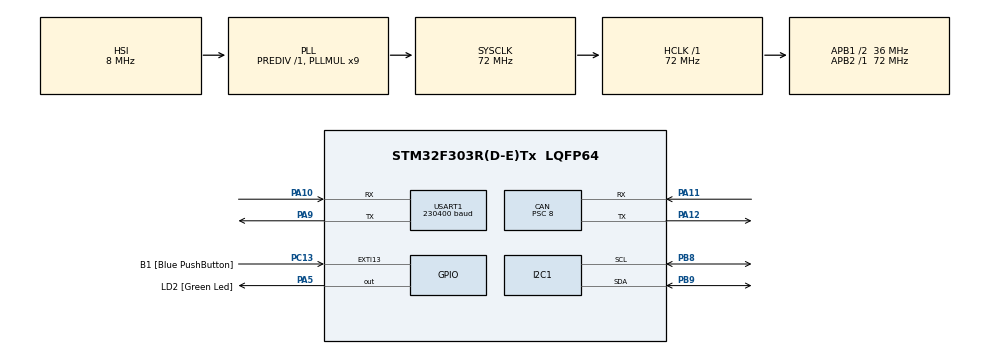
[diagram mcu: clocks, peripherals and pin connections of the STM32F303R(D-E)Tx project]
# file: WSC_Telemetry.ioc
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CAN.BS1=CAN_BS1_15TQ
CAN.BS2=CAN_BS2_2TQ
CAN.CalculateBaudRate=250000
CAN.CalculateTimeBit=4000
CAN.CalculateTimeQuantum=222.22222222222223
CAN.Mode=CAN_MODE_NORMAL
CAN.NART=ENABLE
CAN.Prescaler=8
Dma.Request0=USART1_TX
Dma.USART1_TX.0.Direction=DMA_MEMORY_TO_PERIPH
Dma.USART1_TX.0.Instance=DMA1_Channel4
Dma.USART1_TX.0.MemDataAlignment=DMA_MDATAALIGN_BYTE
Dma.USART1_TX.0.MemInc=DMA_MINC_ENABLE
Dma.USART1_TX.0.Mode=DMA_NORMAL
Dma.USART1_TX.0.PeriphDataAlignment=DMA_PDATAALIGN_BYTE
Dma.USART1_TX.0.PeriphInc=DMA_PINC_DISABLE
Dma.USART1_TX.0.Priority=DMA_PRIORITY_VERY_HIGH
I2C1.Timing=0x00201D2B
Mcu.Family=STM32F3
Mcu.Name=STM32F303R(D-E)Tx
Mcu.Package=LQFP64
NVIC.DMA1_Channel4_IRQn=true\:0\:0\:false\:false\:true\:false\:true\:true
NVIC.PriorityGroup=NVIC_PRIORITYGROUP_0
NVIC.TIM2_IRQn=true\:0\:0\:false\:false\:false\:true\:true\:true
NVIC.USART1_IRQn=true\:0\:0\:false\:false\:true\:true\:true\:true
NVIC.USB_LP_CAN_RX0_IRQn=true\:0\:0\:false\:false\:false\:true\:true\:true
PA10.Mode=Asynchronous
PA10.Signal=USART1_RX
PA11.Mode=CAN_Activate
PA11.Signal=CAN_RX
PA12.Mode=CAN_Activate
PA12.Signal=CAN_TX
PA13.GPIO_Label=TMS
PA13.Mode=Serial_Wire
PA13.Signal=SYS_JTMS-SWDIO
PA14.GPIO_Label=TCK
PA14.Mode=Serial_Wire
PA14.Signal=SYS_JTCK-SWCLK
PA3.GPIO_Label=USART_RX
PA3.GPIO_Mode=GPIO_MODE_AF_PP
PA3.GPIO_PuPd=GPIO_NOPULL
PA3.GPIO_Speed=GPIO_SPEED_FREQ_LOW
PA3.Signal=USART2_RX
PA5.GPIO_Label=LD2 [Green Led]
PA5.GPIO_Mode=GPIO_MODE_OUTPUT_PP
PA5.GPIO_PuPd=GPIO_NOPULL
PA5.GPIO_Speed=GPIO_SPEED_FREQ_LOW
PA5.Signal=GPIO_Output
PA9.Mode=Asynchronous
PA9.Signal=USART1_TX
PB3.GPIO_Label=SWO
PB3.Signal=SYS_JTDO-TRACESWO
PB8.Mode=I2C
PB8.Signal=I2C1_SCL
PB9.Mode=I2C
PB9.Signal=I2C1_SDA
PC13.GPIO_Label=B1 [Blue PushButton]
PC13.GPIO_ModeDefaultEXTI=GPIO_MODE_IT_FALLING
PC13.Signal=GPXTI13
PC14-OSC32_IN.Mode=LSE-External-Oscillator
PC14-OSC32_IN.Signal=RCC_OSC32_IN
PC15-OSC32_OUT.Mode=LSE-External-Oscillator
PC15-OSC32_OUT.Signal=RCC_OSC32_OUT
PF0-OSC_IN.Signal=RCC_OSC_IN
PF1-OSC_OUT.Signal=RCC_OSC_OUT
ProjectManager.HeapSize=0x200
ProjectManager.StackSize=0x400
ProjectManager.TargetToolchain=STM32CubeIDE
RCC.AHBFreq_Value=72000000
RCC.APB1CLKDivider=RCC_HCLK_DIV2
RCC.APB1Freq_Value=36000000
RCC.APB1TimFreq_Value=72000000
RCC.APB2Freq_Value=72000000
RCC.APB2TimFreq_Value=72000000
RCC.CortexFreq_Value=72000000
RCC.HCLKFreq_Value=72000000
RCC.HSE_VALUE=8000000
RCC.HSI_VALUE=8000000
RCC.PLLM=8
RCC.PLLMUL=RCC_PLL_MUL9
RCC.PLLN=336
RCC.PLLP=RCC_PLLP_DIV4
RCC.PLLQ=7
RCC.RCC_PLLsource_Clock_Source_FROM_HSE=RCC_HSE_PREDIV_DIV2
RCC.SYSCLKFreq_VALUE=72000000
RCC.SYSCLKSourceVirtual=RCC_SYSCLKSOURCE_PLLCLK
RCC.USBFreq_Value=72000000
TIM2.AutoReloadPreload=TIM_AUTORELOAD_PRELOAD_ENABLE
TIM2.Channel-Output\ Compare1\ No\ Output=TIM_CHANNEL_1
TIM2.Period=999
TIM2.Prescaler=7199
USART1.BaudRate=230400
USART1.Parity=PARITY_EVEN
USART1.VirtualMode-Asynchronous=VM_ASYNC
USART1.WordLength=WORDLENGTH_9B
VP_TIM2_VS_ClockSourceINT.Mode=Internal
VP_TIM2_VS_no_output1.Mode=Output Compare1 No Output
board=NUCLEO-F303RE

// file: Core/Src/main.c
/* USER CODE BEGIN Header */
/**
  ******************************************************************************
  * @file           : main.c
  * @brief          : Main program body
  ******************************************************************************
  * @attention
  *
  * Copyright (c) 2025 STMicroelectronics.
  * All rights reserved.
  *
  * This software is licensed under terms that can be found in the LICENSE file
  * in the root directory of this software component.
  * If no LICENSE file comes with this software, it is provided AS-IS.
  *
  ******************************************************************************
  */
/* USER CODE END Header */
#include "main.h"

CAN_HandleTypeDef hcan;

I2C_HandleTypeDef hi2c1;

TIM_HandleTypeDef htim2;

UART_HandleTypeDef huart1;
DMA_HandleTypeDef hdma_usart1_tx;

void SystemClock_Config(void);
static void MX_GPIO_Init(void);
static void MX_DMA_Init(void);
static void MX_I2C1_Init(void);
static void MX_USART1_UART_Init(void);
static void MX_CAN_Init(void);
static void MX_TIM2_Init(void);

/* USER CODE BEGIN 0 */
#if ( PRINTF_TESTING == 1)
	int _write(int file, char *ptr, int len)
	{
		(void)file;
		int DataIdx;

		for (DataIdx = 0; DataIdx < len; DataIdx++)
		{
			ITM_SendChar(*ptr++);
		}
		return len;
	}
#endif

/* USER CODE END 0 */

int main(void)
{

  /* MCU Configuration--------------------------------------------------------*/

  /* Reset of all peripherals, Initializes the Flash interface and the Systick. */
  HAL_Init();

  /* Configure the system clock */
  SystemClock_Config();

  /* Initialize all configured peripherals */
  MX_GPIO_Init();
  MX_DMA_Init();
  MX_I2C1_Init();
  MX_USART1_UART_Init();
  MX_CAN_Init();
  MX_TIM2_Init();
  /* USER CODE BEGIN 2 */

  HAL_CAN_Start(&hcan);
  HAL_CAN_ActivateNotification(&hcan, CAN_IT_RX_FIFO0_MSG_PENDING);

  HAL_TIM_Base_Start_IT(&htim2);

//  SetTime(00,22,19,1, 7, 7, 25);
  /* USER CODE END 2 */

  /* Infinite loop */
  while (1)
  {

    /* USER CODE BEGIN 3 */

	  Loop();

  }
  /* USER CODE END 3 */
}

void SystemClock_Config(void)
{
  RCC_OscInitTypeDef RCC_OscInitStruct = {0};
  RCC_ClkInitTypeDef RCC_ClkInitStruct = {0};
  RCC_PeriphCLKInitTypeDef PeriphClkInit = {0};

  /** Initializes the RCC Oscillators according to the specified parameters
  * in the RCC_OscInitTypeDef structure.
  */
  RCC_OscInitStruct.OscillatorType = RCC_OSCILLATORTYPE_HSI;
  RCC_OscInitStruct.HSIState = RCC_HSI_ON;
  RCC_OscInitStruct.HSICalibrationValue = RCC_HSICALIBRATION_DEFAULT;
  RCC_OscInitStruct.PLL.PLLState = RCC_PLL_ON;
  RCC_OscInitStruct.PLL.PLLSource = RCC_PLLSOURCE_HSI;
  RCC_OscInitStruct.PLL.PLLMUL = RCC_PLL_MUL9;
  RCC_OscInitStruct.PLL.PREDIV = RCC_PREDIV_DIV1;
  if (HAL_RCC_OscConfig(&RCC_OscInitStruct) != HAL_OK)
  {
    Error_Handler();
  }

  /** Initializes the CPU, AHB and APB buses clocks
  */
  RCC_ClkInitStruct.ClockType = RCC_CLOCKTYPE_HCLK|RCC_CLOCKTYPE_SYSCLK
                              |RCC_CLOCKTYPE_PCLK1|RCC_CLOCKTYPE_PCLK2;
  RCC_ClkInitStruct.SYSCLKSource = RCC_SYSCLKSOURCE_PLLCLK;
  RCC_ClkInitStruct.AHBCLKDivider = RCC_SYSCLK_DIV1;
  RCC_ClkInitStruct.APB1CLKDivider = RCC_HCLK_DIV2;
  RCC_ClkInitStruct.APB2CLKDivider = RCC_HCLK_DIV1;

  if (HAL_RCC_ClockConfig(&RCC_ClkInitStruct, FLASH_LATENCY_2) != HAL_OK)
  {
    Error_Handler();
  }
  PeriphClkInit.PeriphClockSelection = RCC_PERIPHCLK_USART1|RCC_PERIPHCLK_I2C1
                              |RCC_PERIPHCLK_TIM2;
  PeriphClkInit.Usart1ClockSelection = RCC_USART1CLKSOURCE_PCLK2;
  PeriphClkInit.I2c1ClockSelection = RCC_I2C1CLKSOURCE_HSI;
  PeriphClkInit.Tim2ClockSelection = RCC_TIM2CLK_HCLK;
  if (HAL_RCCEx_PeriphCLKConfig(&PeriphClkInit) != HAL_OK)
  {
    Error_Handler();
  }
}

static void MX_CAN_Init(void)
{

  hcan.Instance = CAN;
  hcan.Init.Prescaler = 8;
  hcan.Init.Mode = CAN_MODE_NORMAL;
  hcan.Init.SyncJumpWidth = CAN_SJW_1TQ;
  hcan.Init.TimeSeg1 = CAN_BS1_15TQ;
  hcan.Init.TimeSeg2 = CAN_BS2_2TQ;
  hcan.Init.TimeTriggeredMode = DISABLE;
  hcan.Init.AutoBusOff = DISABLE;
  hcan.Init.AutoWakeUp = DISABLE;
  hcan.Init.AutoRetransmission = ENABLE;
  hcan.Init.ReceiveFifoLocked = DISABLE;
  hcan.Init.TransmitFifoPriority = DISABLE;
  if (HAL_CAN_Init(&hcan) != HAL_OK)
  {
    Error_Handler();
  }
  /* USER CODE BEGIN CAN_Init 2 */
  CAN_FilterTypeDef canfilterconfig;

  	canfilterconfig.FilterActivation = CAN_FILTER_ENABLE;
  	canfilterconfig.FilterBank = 10;
  	canfilterconfig.FilterFIFOAssignment = CAN_RX_FIFO0;
  	canfilterconfig.FilterIdHigh = 0; //this tells what to compare the incoming data to
  	canfilterconfig.FilterIdLow = 0x0000;
  	canfilterconfig.FilterMaskIdHigh = 0; //this tells which bits to compare
  	canfilterconfig.FilterMaskIdLow = 0x0000;
  	canfilterconfig.FilterMode = CAN_FILTERMODE_IDMASK;
  	canfilterconfig.FilterScale = CAN_FILTERSCALE_32BIT;
  	canfilterconfig.SlaveStartFilterBank = 10;

  	HAL_CAN_ConfigFilter(&hcan, &canfilterconfig);

  /* USER CODE END CAN_Init 2 */

}

static void MX_I2C1_Init(void)
{

  hi2c1.Instance = I2C1;
  hi2c1.Init.Timing = 0x00201D2B;
  hi2c1.Init.OwnAddress1 = 0;
  hi2c1.Init.AddressingMode = I2C_ADDRESSINGMODE_7BIT;
  hi2c1.Init.DualAddressMode = I2C_DUALADDRESS_DISABLE;
  hi2c1.Init.OwnAddress2 = 0;
  hi2c1.Init.OwnAddress2Masks = I2C_OA2_NOMASK;
  hi2c1.Init.GeneralCallMode = I2C_GENERALCALL_DISABLE;
  hi2c1.Init.NoStretchMode = I2C_NOSTRETCH_DISABLE;
  if (HAL_I2C_Init(&hi2c1) != HAL_OK)
  {
    Error_Handler();
  }

  /** Configure Analogue filter
  */
  if (HAL_I2CEx_ConfigAnalogFilter(&hi2c1, I2C_ANALOGFILTER_ENABLE) != HAL_OK)
  {
    Error_Handler();
  }

  /** Configure Digital filter
  */
  if (HAL_I2CEx_ConfigDigitalFilter(&hi2c1, 0) != HAL_OK)
  {
    Error_Handler();
  }

}

static void MX_TIM2_Init(void)
{

  TIM_ClockConfigTypeDef sClockSourceConfig = {0};
  TIM_MasterConfigTypeDef sMasterConfig = {0};
  TIM_OC_InitTypeDef sConfigOC = {0};

  htim2.Instance = TIM2;
  htim2.Init.Prescaler = 7199;
  htim2.Init.CounterMode = TIM_COUNTERMODE_UP;
  htim2.Init.Period = 999;
  htim2.Init.ClockDivision = TIM_CLOCKDIVISION_DIV1;
  htim2.Init.AutoReloadPreload = TIM_AUTORELOAD_PRELOAD_ENABLE;
  if (HAL_TIM_Base_Init(&htim2) != HAL_OK)
  {
    Error_Handler();
  }
  sClockSourceConfig.ClockSource = TIM_CLOCKSOURCE_INTERNAL;
  if (HAL_TIM_ConfigClockSource(&htim2, &sClockSourceConfig) != HAL_OK)
  {
    Error_Handler();
  }
  if (HAL_TIM_OC_Init(&htim2) != HAL_OK)
  {
    Error_Handler();
  }
  sMasterConfig.MasterOutputTrigger = TIM_TRGO_RESET;
  sMasterConfig.MasterSlaveMode = TIM_MASTERSLAVEMODE_DISABLE;
  if (HAL_TIMEx_MasterConfigSynchronization(&htim2, &sMasterConfig) != HAL_OK)
  {
    Error_Handler();
  }
  sConfigOC.OCMode = TIM_OCMODE_TIMING;
  sConfigOC.Pulse = 0;
  sConfigOC.OCPolarity = TIM_OCPOLARITY_HIGH;
  sConfigOC.OCFastMode = TIM_OCFAST_DISABLE;
  if (HAL_TIM_OC_ConfigChannel(&htim2, &sConfigOC, TIM_CHANNEL_1) != HAL_OK)
  {
    Error_Handler();
  }

}

static void MX_USART1_UART_Init(void)
{

  huart1.Instance = USART1;
  huart1.Init.BaudRate = 230400;
  huart1.Init.WordLength = UART_WORDLENGTH_9B;
  huart1.Init.StopBits = UART_STOPBITS_1;
  huart1.Init.Parity = UART_PARITY_EVEN;
  huart1.Init.Mode = UART_MODE_TX_RX;
  huart1.Init.HwFlowCtl = UART_HWCONTROL_NONE;
  huart1.Init.OverSampling = UART_OVERSAMPLING_16;
  huart1.Init.OneBitSampling = UART_ONE_BIT_SAMPLE_DISABLE;
  huart1.AdvancedInit.AdvFeatureInit = UART_ADVFEATURE_NO_INIT;
  if (HAL_UART_Init(&huart1) != HAL_OK)
  {
    Error_Handler();
  }

}

static void MX_DMA_Init(void)
{

  /* DMA controller clock enable */
  __HAL_RCC_DMA1_CLK_ENABLE();

  /* DMA interrupt init */
  /* DMA1_Channel4_IRQn interrupt configuration */
  HAL_NVIC_SetPriority(DMA1_Channel4_IRQn, 0, 0);
  HAL_NVIC_EnableIRQ(DMA1_Channel4_IRQn);

}

static void MX_GPIO_Init(void)
{
  GPIO_InitTypeDef GPIO_InitStruct = {0};

  /* GPIO Ports Clock Enable */
  __HAL_RCC_GPIOC_CLK_ENABLE();
  __HAL_RCC_GPIOF_CLK_ENABLE();
  __HAL_RCC_GPIOA_CLK_ENABLE();
  __HAL_RCC_GPIOB_CLK_ENABLE();

  /*Configure GPIO pin Output Level */
  HAL_GPIO_WritePin(LD2_GPIO_Port, LD2_Pin, GPIO_PIN_RESET);

  /*Configure GPIO pin : B1_Pin */
  GPIO_InitStruct.Pin = B1_Pin;
  GPIO_InitStruct.Mode = GPIO_MODE_IT_FALLING;
  GPIO_InitStruct.Pull = GPIO_NOPULL;
  HAL_GPIO_Init(B1_GPIO_Port, &GPIO_InitStruct);

  /*Configure GPIO pin : USART_RX_Pin */
  GPIO_InitStruct.Pin = USART_RX_Pin;
  GPIO_InitStruct.Mode = GPIO_MODE_AF_PP;
  GPIO_InitStruct.Pull = GPIO_NOPULL;
  GPIO_InitStruct.Speed = GPIO_SPEED_FREQ_LOW;
  GPIO_InitStruct.Alternate = GPIO_AF7_USART2;
  HAL_GPIO_Init(USART_RX_GPIO_Port, &GPIO_InitStruct);

  /*Configure GPIO pin : LD2_Pin */
  GPIO_InitStruct.Pin = LD2_Pin;
  GPIO_InitStruct.Mode = GPIO_MODE_OUTPUT_PP;
  GPIO_InitStruct.Pull = GPIO_NOPULL;
  GPIO_InitStruct.Speed = GPIO_SPEED_FREQ_LOW;
  HAL_GPIO_Init(LD2_GPIO_Port, &GPIO_InitStruct);

}

void Error_Handler(void)
{
  __disable_irq();
  while (1)
  {
  }
}
